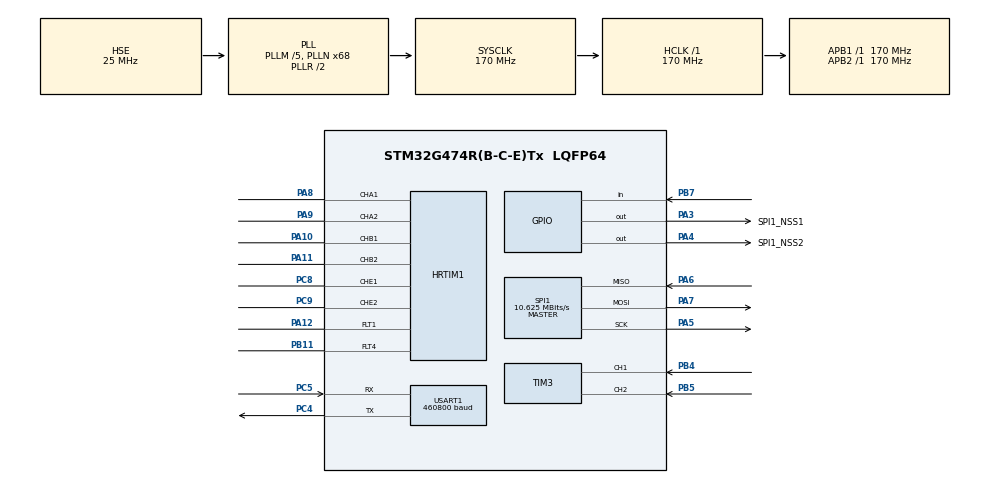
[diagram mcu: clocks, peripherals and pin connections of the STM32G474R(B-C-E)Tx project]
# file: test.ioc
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Dma.Request0=SPI1_RX
Dma.Request1=SPI1_TX
Dma.Request2=USART1_RX
Dma.Request3=USART1_TX
Dma.SPI1_RX.0.Direction=DMA_PERIPH_TO_MEMORY
Dma.SPI1_RX.0.EventEnable=DISABLE
Dma.SPI1_RX.0.Instance=DMA1_Channel1
Dma.SPI1_RX.0.MemDataAlignment=DMA_MDATAALIGN_BYTE
Dma.SPI1_RX.0.MemInc=DMA_MINC_ENABLE
Dma.SPI1_RX.0.Mode=DMA_NORMAL
Dma.SPI1_RX.0.PeriphDataAlignment=DMA_PDATAALIGN_BYTE
Dma.SPI1_RX.0.PeriphInc=DMA_PINC_DISABLE
Dma.SPI1_RX.0.Polarity=HAL_DMAMUX_REQ_GEN_RISING
Dma.SPI1_RX.0.Priority=DMA_PRIORITY_MEDIUM
Dma.SPI1_RX.0.RequestNumber=1
Dma.SPI1_RX.0.SignalID=NONE
Dma.SPI1_RX.0.SyncEnable=DISABLE
Dma.SPI1_RX.0.SyncPolarity=HAL_DMAMUX_SYNC_NO_EVENT
Dma.SPI1_RX.0.SyncRequestNumber=1
Dma.SPI1_RX.0.SyncSignalID=NONE
Dma.SPI1_TX.1.Direction=DMA_MEMORY_TO_PERIPH
Dma.SPI1_TX.1.EventEnable=DISABLE
Dma.SPI1_TX.1.Instance=DMA1_Channel2
Dma.SPI1_TX.1.MemDataAlignment=DMA_MDATAALIGN_BYTE
Dma.SPI1_TX.1.MemInc=DMA_MINC_ENABLE
Dma.SPI1_TX.1.Mode=DMA_NORMAL
Dma.SPI1_TX.1.PeriphDataAlignment=DMA_PDATAALIGN_BYTE
Dma.SPI1_TX.1.PeriphInc=DMA_PINC_DISABLE
Dma.SPI1_TX.1.Polarity=HAL_DMAMUX_REQ_GEN_RISING
Dma.SPI1_TX.1.Priority=DMA_PRIORITY_MEDIUM
Dma.SPI1_TX.1.RequestNumber=1
Dma.SPI1_TX.1.SignalID=NONE
Dma.SPI1_TX.1.SyncEnable=DISABLE
Dma.SPI1_TX.1.SyncPolarity=HAL_DMAMUX_SYNC_NO_EVENT
Dma.SPI1_TX.1.SyncRequestNumber=1
Dma.SPI1_TX.1.SyncSignalID=NONE
Dma.USART1_RX.2.Direction=DMA_PERIPH_TO_MEMORY
Dma.USART1_RX.2.EventEnable=DISABLE
Dma.USART1_RX.2.Instance=DMA1_Channel4
Dma.USART1_RX.2.MemDataAlignment=DMA_MDATAALIGN_BYTE
Dma.USART1_RX.2.MemInc=DMA_MINC_ENABLE
Dma.USART1_RX.2.Mode=DMA_NORMAL
Dma.USART1_RX.2.PeriphDataAlignment=DMA_PDATAALIGN_BYTE
Dma.USART1_RX.2.PeriphInc=DMA_PINC_DISABLE
Dma.USART1_RX.2.Polarity=HAL_DMAMUX_REQ_GEN_RISING
Dma.USART1_RX.2.Priority=DMA_PRIORITY_LOW
Dma.USART1_RX.2.RequestNumber=1
Dma.USART1_RX.2.SignalID=NONE
Dma.USART1_RX.2.SyncEnable=DISABLE
Dma.USART1_RX.2.SyncPolarity=HAL_DMAMUX_SYNC_NO_EVENT
Dma.USART1_RX.2.SyncRequestNumber=1
Dma.USART1_RX.2.SyncSignalID=NONE
Dma.USART1_TX.3.Direction=DMA_MEMORY_TO_PERIPH
Dma.USART1_TX.3.EventEnable=DISABLE
Dma.USART1_TX.3.Instance=DMA1_Channel5
Dma.USART1_TX.3.MemDataAlignment=DMA_MDATAALIGN_BYTE
Dma.USART1_TX.3.MemInc=DMA_MINC_ENABLE
Dma.USART1_TX.3.Mode=DMA_NORMAL
Dma.USART1_TX.3.PeriphDataAlignment=DMA_PDATAALIGN_BYTE
Dma.USART1_TX.3.PeriphInc=DMA_PINC_DISABLE
Dma.USART1_TX.3.Polarity=HAL_DMAMUX_REQ_GEN_RISING
Dma.USART1_TX.3.Priority=DMA_PRIORITY_LOW
Dma.USART1_TX.3.RequestNumber=1
Dma.USART1_TX.3.SignalID=NONE
Dma.USART1_TX.3.SyncEnable=DISABLE
Dma.USART1_TX.3.SyncPolarity=HAL_DMAMUX_SYNC_NO_EVENT
Dma.USART1_TX.3.SyncRequestNumber=1
Dma.USART1_TX.3.SyncSignalID=NONE
HRTIM1.CompareUnit1-Output_TA1TA2=HRTIM_COMPAREUNIT_1
HRTIM1.CompareUnit1-Output_TB1TB2=HRTIM_COMPAREUNIT_1
HRTIM1.CompareUnit1-Output_TE1TE2=HRTIM_COMPAREUNIT_1
HRTIM1.DeadTimeInsertion-Output_TA1TA2=HRTIM_TIMDEADTIMEINSERTION_ENABLED
HRTIM1.DeadTimeInsertion-Output_TB1TB2=HRTIM_TIMDEADTIMEINSERTION_ENABLED
HRTIM1.DeadTimeInsertion-Output_TE1TE2=HRTIM_TIMDEADTIMEINSERTION_ENABLED
HRTIM1.Deadtimeconfig-Output_TB1TB2=HRTIM_TIMERINDEX_TIMER_B
HRTIM1.FallingValue-Output_TA1TA2=272
HRTIM1.FallingValue-Output_TB1TB2=272
HRTIM1.FallingValue-Output_TE1TE2=272
HRTIM1.NumberResetSource1-Output_TA1TA2=1
HRTIM1.NumberResetSource1-Output_TB1TB2=1
HRTIM1.NumberResetSource1-Output_TE1TE2=1
HRTIM1.NumberSetSource1-Output_TA1TA2=1
HRTIM1.NumberSetSource1-Output_TB1TB2=1
HRTIM1.NumberSetSource1-Output_TE1TE2=1
HRTIM1.Periode_TA=34000
HRTIM1.Periode_TB=34000
HRTIM1.Periode_TE=34000
HRTIM1.PreloadEnable-Output_TA1TA2=HRTIM_PRELOAD_ENABLED
HRTIM1.PreloadEnable-Output_TB1TB2=HRTIM_PRELOAD_ENABLED
HRTIM1.PreloadEnable-Output_TE1TE2=HRTIM_PRELOAD_ENABLED
HRTIM1.PrescalerRatio_TA=HRTIM_PRESCALERRATIO_MUL4
HRTIM1.PrescalerRatio_TB=HRTIM_PRESCALERRATIO_MUL4
HRTIM1.PrescalerRatio_TE=HRTIM_PRESCALERRATIO_MUL4
HRTIM1.RepetitionUpdate-Output_TA1TA2=HRTIM_UPDATEONREPETITION_ENABLED
HRTIM1.RepetitionUpdate-Output_TB1TB2=HRTIM_UPDATEONREPETITION_ENABLED
HRTIM1.RepetitionUpdate-Output_TE1TE2=HRTIM_UPDATEONREPETITION_ENABLED
HRTIM1.ResetOutput1_Source1-Output_TA1TA2=HRTIM_OUTPUTRESET_TIMCMP1
HRTIM1.ResetOutput1_Source1-Output_TB1TB2=HRTIM_OUTPUTRESET_TIMCMP1
HRTIM1.ResetOutput1_Source1-Output_TE1TE2=HRTIM_OUTPUTRESET_TIMCMP1
HRTIM1.RisingValue-Output_TA1TA2=272
HRTIM1.RisingValue-Output_TB1TB2=272
HRTIM1.RisingValue-Output_TE1TE2=272
HRTIM1.SetOutput1_Source1-Output_TA1TA2=HRTIM_OUTPUTSET_TIMPER
HRTIM1.SetOutput1_Source1-Output_TB1TB2=HRTIM_OUTPUTSET_TIMPER
HRTIM1.SetOutput1_Source1-Output_TE1TE2=HRTIM_OUTPUTSET_TIMPER
Mcu.Family=STM32G4
Mcu.Name=STM32G474R(B-C-E)Tx
Mcu.Package=LQFP64
NVIC.DMA1_Channel1_IRQn=true\:0\:0\:false\:false\:true\:false\:true\:true
NVIC.DMA1_Channel2_IRQn=true\:0\:0\:false\:false\:true\:false\:true\:true
NVIC.DMA1_Channel4_IRQn=true\:9\:0\:true\:false\:true\:false\:true\:true
NVIC.DMA1_Channel5_IRQn=true\:9\:0\:true\:false\:true\:false\:true\:true
NVIC.HRTIM1_TIMA_IRQn=true\:0\:0\:false\:false\:true\:true\:true\:true
NVIC.PriorityGroup=NVIC_PRIORITYGROUP_4
NVIC.TIM1_TRG_COM_TIM17_IRQn=true\:1\:0\:true\:false\:true\:true\:true\:true
NVIC.TIM3_IRQn=true\:5\:0\:true\:false\:true\:true\:true\:true
NVIC.TIM8_UP_IRQn=true\:10\:0\:true\:false\:true\:true\:true\:true
NVIC.USART1_IRQn=true\:6\:0\:true\:false\:true\:true\:true\:true
PA10.Mode=Output_TB1TB2
PA10.Signal=HRTIM1_CHB1
PA11.Mode=Output_TB1TB2
PA11.Signal=HRTIM1_CHB2
PA12.Mode=Fault_Enable1
PA12.Signal=HRTIM1_FLT1
PA3.GPIO_Label=SPI1_NSS1
PA3.GPIO_PuPd=GPIO_PULLUP
PA3.Signal=GPIO_Output
PA4.GPIO_Label=SPI1_NSS2
PA4.GPIO_PuPd=GPIO_PULLUP
PA4.Signal=GPIO_Output
PA5.Mode=Full_Duplex_Master
PA5.Signal=SPI1_SCK
PA6.Mode=Full_Duplex_Master
PA6.Signal=SPI1_MISO
PA7.Mode=Full_Duplex_Master
PA7.Signal=SPI1_MOSI
PA8.Mode=Output_TA1TA2
PA8.Signal=HRTIM1_CHA1
PA9.Mode=Output_TA1TA2
PA9.Signal=HRTIM1_CHA2
PB11.Mode=Fault_Enable4
PB11.Signal=HRTIM1_FLT4
PB4.Signal=S_TIM3_CH1
PB5.Signal=S_TIM3_CH2
PB7.GPIO_PuPd=GPIO_PULLUP
PB7.Signal=GPIO_Input
PC4.Mode=Asynchronous
PC4.Signal=USART1_TX
PC5.Mode=Asynchronous
PC5.Signal=USART1_RX
PC8.Mode=Output_TE1TE2
PC8.Signal=HRTIM1_CHE1
PC9.Mode=Output_TE1TE2
PC9.Signal=HRTIM1_CHE2
PF0-OSC_IN.Mode=HSE-External-Oscillator
PF0-OSC_IN.Signal=RCC_OSC_IN
PF1-OSC_OUT.Mode=HSE-External-Oscillator
PF1-OSC_OUT.Signal=RCC_OSC_OUT
ProjectManager.HeapSize=0x200
ProjectManager.StackSize=0x400
ProjectManager.TargetToolchain=MDK-ARM V5.32
RCC.ADC12Freq_Value=170000000
RCC.ADC345Freq_Value=170000000
RCC.AHBFreq_Value=170000000
RCC.APB1Freq_Value=170000000
RCC.APB1TimFreq_Value=170000000
RCC.APB2Freq_Value=170000000
RCC.APB2TimFreq_Value=170000000
RCC.CortexFreq_Value=170000000
RCC.EXTERNAL_CLOCK_VALUE=12288000
RCC.HCLKFreq_Value=170000000
RCC.HSE_VALUE=25000000
RCC.HSI48_VALUE=48000000
RCC.HSI_VALUE=16000000
RCC.LSE_VALUE=32768
RCC.PLLM=RCC_PLLM_DIV5
RCC.PLLN=68
RCC.PLLSourceVirtual=RCC_PLLSOURCE_HSE
RCC.SYSCLKFreq_VALUE=170000000
RCC.SYSCLKSource=RCC_SYSCLKSOURCE_PLLCLK
RCC.USART1CLockSelection=RCC_USART1CLKSOURCE_HSI
RCC.USBFreq_Value=170000000
RCC.VCOOutputFreq_Value=340000000
SH.S_TIM3_CH1.0=TIM3_CH1,Encoder_Interface
SH.S_TIM3_CH2.0=TIM3_CH2,Encoder_Interface
SPI1.BaudRatePrescaler=SPI_BAUDRATEPRESCALER_16
SPI1.CLKPhase=SPI_PHASE_2EDGE
SPI1.CLKPolarity=SPI_POLARITY_HIGH
SPI1.CalculateBaudRate=10.625 MBits/s
SPI1.DataSize=SPI_DATASIZE_8BIT
SPI1.Direction=SPI_DIRECTION_2LINES
SPI1.Mode=SPI_MODE_MASTER
SPI1.VirtualType=VM_MASTER
TIM17.AutoReloadPreload=TIM_AUTORELOAD_PRELOAD_DISABLE
TIM17.PeriodNoDither=999
TIM17.Prescaler=169
TIM8.PeriodNoDither=999
TIM8.Prescaler=15
USART1.BaudRate=460800
USART1.VirtualMode-Asynchronous=VM_ASYNC
USART1.WordLength=WORDLENGTH_8B
VP_CORDIC_VS_CORDIC.Mode=CORDIC_Activate
VP_HRTIM1_VS_hrtimMasterTimerNoOutput.Mode=MasterTimer
VP_SYS_VS_DBSignals.Mode=DisableDeadBatterySignals
VP_TIM17_VS_ClockSourceINT.Mode=Enable_Timer
VP_TIM8_VS_ClockSourceINT.Mode=Internal
board=custom

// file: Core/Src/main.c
/* USER CODE BEGIN Header */
/**
  ******************************************************************************
  * @file           : main.c
  * @brief          : Main program body
  ******************************************************************************
  * @attention
  *
  * Copyright (c) 2026 STMicroelectronics.
  * All rights reserved.
  *
  * This software is licensed under terms that can be found in the LICENSE file
  * in the root directory of this software component.
  * If no LICENSE file comes with this software, it is provided AS-IS.
  *
  ******************************************************************************
  */
/* USER CODE END Header */
#include "main.h"

/* USER CODE BEGIN Includes */
#include <stdio.h>
#include "mt6826.h"
#include "motor.h"
#include "spwm.h"
#include "ui.h"
/* USER CODE END Includes */

CORDIC_HandleTypeDef hcordic;

HRTIM_HandleTypeDef hhrtim1;

SPI_HandleTypeDef hspi1;
DMA_HandleTypeDef hdma_spi1_rx;
DMA_HandleTypeDef hdma_spi1_tx;

TIM_HandleTypeDef htim3;
TIM_HandleTypeDef htim8;
TIM_HandleTypeDef htim17;

UART_HandleTypeDef huart1;
DMA_HandleTypeDef hdma_usart1_rx;
DMA_HandleTypeDef hdma_usart1_tx;

/* USER CODE BEGIN PV */
static uint8_t          uart_buf[64];    /* UART 发送缓冲（保留备用） */
MT6826_HandleTypeDef    hencoder;        /* 磁编码器句柄   */
Motor_HandleTypeDef     hmotor;          /* 电机驱动句柄   */
SPWM_HandleTypeDef      hspwm;           /* SPWM 位置环句柄 */
UI_HandleTypeDef        hui;             /* UI 参数调节句柄 */
/* USER CODE END PV */

void SystemClock_Config(void);
static void MX_GPIO_Init(void);
static void MX_DMA_Init(void);
static void MX_USART1_UART_Init(void);
static void MX_HRTIM1_Init(void);
static void MX_SPI1_Init(void);
static void MX_CORDIC_Init(void);
static void MX_TIM17_Init(void);
static void MX_TIM3_Init(void);
static void MX_TIM8_Init(void);

int main(void)
{

  /* MCU Configuration--------------------------------------------------------*/

  /* Reset of all peripherals, Initializes the Flash interface and the Systick. */
  HAL_Init();

  /* Configure the system clock */
  SystemClock_Config();

  /* Initialize all configured peripherals */
  MX_GPIO_Init();
  MX_DMA_Init();
  MX_USART1_UART_Init();
  MX_HRTIM1_Init();
  MX_SPI1_Init();
  MX_CORDIC_Init();
  MX_TIM17_Init();
  MX_TIM3_Init();
  MX_TIM8_Init();
  /* USER CODE BEGIN 2 */
  /* NSS2 空闲拉高 */
  HAL_GPIO_WritePin(SPI1_NSS2_GPIO_Port, SPI1_NSS2_Pin, GPIO_PIN_SET);

  /* 初始化 MT6826S 编码器模块 */
  MT6826_Init(&hencoder, &hspi1, SPI1_NSS1_GPIO_Port, SPI1_NSS1_Pin);
  HAL_Delay(10u);

  /* 初始化电机底层 HRTIM+CORDIC */
  Motor_Init(&hmotor, &hhrtim1, &hcordic, &hencoder);

  /* 初始化 SPWM 位置环（先初始化再进行对齐） */
  SPWM_Init(&hspwm, &hmotor, &htim17);
  SPWM_SetPID(&hspwm, 0.02f, 0.0005f, 0.0f);

	/* d轴对齐: 施加直轴电流使电机转至电角度0°, 标定编码器偏移 */
  SPWM_AlignToZero(&hspwm);

//	/*电机匀速旋转测试*/
//	Motor_SetModulation(&hmotor,0.5f);
//	Motor_Start(&hmotor);

  /* 启动闭环位置控制, 目标角度 0° */
  SPWM_SetTarget(&hspwm, 0.0f);
  SPWM_Start(&hspwm);

  /* 初始化 UI: 旋钮(TIM3) + 按钮(PB7) + FireWater 串口流(TIM8) */
  UI_Init(&hui, &hspwm, &huart1, &htim3, &htim8);
  /* USER CODE END 2 */

  /* Infinite loop */
  while (1)
  {

    /* USER CODE BEGIN 3 */
    /* 串口输出和角度数据均由 TIM8 中断驱动 (UI_TIM8Callback)，
     * 主循环只需轮询编码器增量和按键消抖。                        */
    UI_Poll(&hui);
  }
  /* USER CODE END 3 */
}

void SystemClock_Config(void)
{
  RCC_OscInitTypeDef RCC_OscInitStruct = {0};
  RCC_ClkInitTypeDef RCC_ClkInitStruct = {0};

  /** Configure the main internal regulator output voltage
  */
  HAL_PWREx_ControlVoltageScaling(PWR_REGULATOR_VOLTAGE_SCALE1_BOOST);

  /** Initializes the RCC Oscillators according to the specified parameters
  * in the RCC_OscInitTypeDef structure.
  */
  RCC_OscInitStruct.OscillatorType = RCC_OSCILLATORTYPE_HSI|RCC_OSCILLATORTYPE_HSE;
  RCC_OscInitStruct.HSEState = RCC_HSE_ON;
  RCC_OscInitStruct.HSIState = RCC_HSI_ON;
  RCC_OscInitStruct.HSICalibrationValue = RCC_HSICALIBRATION_DEFAULT;
  RCC_OscInitStruct.PLL.PLLState = RCC_PLL_ON;
  RCC_OscInitStruct.PLL.PLLSource = RCC_PLLSOURCE_HSE;
  RCC_OscInitStruct.PLL.PLLM = RCC_PLLM_DIV5;
  RCC_OscInitStruct.PLL.PLLN = 68;
  RCC_OscInitStruct.PLL.PLLP = RCC_PLLP_DIV2;
  RCC_OscInitStruct.PLL.PLLQ = RCC_PLLQ_DIV2;
  RCC_OscInitStruct.PLL.PLLR = RCC_PLLR_DIV2;
  if (HAL_RCC_OscConfig(&RCC_OscInitStruct) != HAL_OK)
  {
    Error_Handler();
  }

  /** Initializes the CPU, AHB and APB buses clocks
  */
  RCC_ClkInitStruct.ClockType = RCC_CLOCKTYPE_HCLK|RCC_CLOCKTYPE_SYSCLK
                              |RCC_CLOCKTYPE_PCLK1|RCC_CLOCKTYPE_PCLK2;
  RCC_ClkInitStruct.SYSCLKSource = RCC_SYSCLKSOURCE_PLLCLK;
  RCC_ClkInitStruct.AHBCLKDivider = RCC_SYSCLK_DIV1;
  RCC_ClkInitStruct.APB1CLKDivider = RCC_HCLK_DIV1;
  RCC_ClkInitStruct.APB2CLKDivider = RCC_HCLK_DIV1;

  if (HAL_RCC_ClockConfig(&RCC_ClkInitStruct, FLASH_LATENCY_4) != HAL_OK)
  {
    Error_Handler();
  }
}

static void MX_CORDIC_Init(void)
{

  hcordic.Instance = CORDIC;
  if (HAL_CORDIC_Init(&hcordic) != HAL_OK)
  {
    Error_Handler();
  }

}

static void MX_HRTIM1_Init(void)
{

  HRTIM_FaultCfgTypeDef pFaultCfg = {0};
  HRTIM_FaultBlankingCfgTypeDef pFaultBlkCfg = {0};
  HRTIM_TimeBaseCfgTypeDef pTimeBaseCfg = {0};
  HRTIM_TimerCfgTypeDef pTimerCfg = {0};
  HRTIM_TimerCtlTypeDef pTimerCtl = {0};
  HRTIM_CompareCfgTypeDef pCompareCfg = {0};
  HRTIM_DeadTimeCfgTypeDef pDeadTimeCfg = {0};
  HRTIM_OutputCfgTypeDef pOutputCfg = {0};

  hhrtim1.Instance = HRTIM1;
  hhrtim1.Init.HRTIMInterruptResquests = HRTIM_IT_NONE;
  hhrtim1.Init.SyncOptions = HRTIM_SYNCOPTION_NONE;
  if (HAL_HRTIM_Init(&hhrtim1) != HAL_OK)
  {
    Error_Handler();
  }
  if (HAL_HRTIM_DLLCalibrationStart(&hhrtim1, HRTIM_CALIBRATIONRATE_3) != HAL_OK)
  {
    Error_Handler();
  }
  if (HAL_HRTIM_PollForDLLCalibration(&hhrtim1, 10) != HAL_OK)
  {
    Error_Handler();
  }
  if (HAL_HRTIM_FaultPrescalerConfig(&hhrtim1, HRTIM_FAULTPRESCALER_DIV1) != HAL_OK)
  {
    Error_Handler();
  }
  pFaultCfg.Source = HRTIM_FAULTSOURCE_DIGITALINPUT;
  pFaultCfg.Polarity = HRTIM_FAULTPOLARITY_HIGH;
  pFaultCfg.Filter = HRTIM_FAULTFILTER_NONE;
  pFaultCfg.Lock = HRTIM_FAULTLOCK_READWRITE;
  if (HAL_HRTIM_FaultConfig(&hhrtim1, HRTIM_FAULT_1, &pFaultCfg) != HAL_OK)
  {
    Error_Handler();
  }
  pFaultBlkCfg.Threshold = 0;
  pFaultBlkCfg.ResetMode = HRTIM_FAULTCOUNTERRST_UNCONDITIONAL;
  pFaultBlkCfg.BlankingSource = HRTIM_FAULTBLANKINGMODE_RSTALIGNED;
  if (HAL_HRTIM_FaultCounterConfig(&hhrtim1, HRTIM_FAULT_1, &pFaultBlkCfg) != HAL_OK)
  {
    Error_Handler();
  }
  if (HAL_HRTIM_FaultBlankingConfigAndEnable(&hhrtim1, HRTIM_FAULT_1, &pFaultBlkCfg) != HAL_OK)
  {
    Error_Handler();
  }
  HAL_HRTIM_FaultModeCtl(&hhrtim1, HRTIM_FAULT_1, HRTIM_FAULTMODECTL_ENABLED);
  if (HAL_HRTIM_FaultCounterConfig(&hhrtim1, HRTIM_FAULT_4, &pFaultBlkCfg) != HAL_OK)
  {
    Error_Handler();
  }
  if (HAL_HRTIM_FaultBlankingConfigAndEnable(&hhrtim1, HRTIM_FAULT_4, &pFaultBlkCfg) != HAL_OK)
  {
    Error_Handler();
  }
  if (HAL_HRTIM_FaultConfig(&hhrtim1, HRTIM_FAULT_4, &pFaultCfg) != HAL_OK)
  {
    Error_Handler();
  }
  HAL_HRTIM_FaultModeCtl(&hhrtim1, HRTIM_FAULT_4, HRTIM_FAULTMODECTL_ENABLED);
  pTimeBaseCfg.Period = 0xFFDF;
  pTimeBaseCfg.RepetitionCounter = 0x00;
  pTimeBaseCfg.PrescalerRatio = HRTIM_PRESCALERRATIO_MUL32;
  pTimeBaseCfg.Mode = HRTIM_MODE_CONTINUOUS;
  if (HAL_HRTIM_TimeBaseConfig(&hhrtim1, HRTIM_TIMERINDEX_MASTER, &pTimeBaseCfg) != HAL_OK)
  {
    Error_Handler();
  }
  pTimerCfg.InterruptRequests = HRTIM_MASTER_IT_NONE;
  pTimerCfg.DMARequests = HRTIM_MASTER_DMA_NONE;
  pTimerCfg.DMASrcAddress = 0x0000;
  pTimerCfg.DMADstAddress = 0x0000;
  pTimerCfg.DMASize = 0x1;
  pTimerCfg.HalfModeEnable = HRTIM_HALFMODE_DISABLED;
  pTimerCfg.InterleavedMode = HRTIM_INTERLEAVED_MODE_DISABLED;
  pTimerCfg.StartOnSync = HRTIM_SYNCSTART_DISABLED;
  pTimerCfg.ResetOnSync = HRTIM_SYNCRESET_DISABLED;
  pTimerCfg.DACSynchro = HRTIM_DACSYNC_NONE;
  pTimerCfg.PreloadEnable = HRTIM_PRELOAD_DISABLED;
  pTimerCfg.UpdateGating = HRTIM_UPDATEGATING_INDEPENDENT;
  pTimerCfg.BurstMode = HRTIM_TIMERBURSTMODE_MAINTAINCLOCK;
  pTimerCfg.RepetitionUpdate = HRTIM_UPDATEONREPETITION_DISABLED;
  pTimerCfg.ReSyncUpdate = HRTIM_TIMERESYNC_UPDATE_UNCONDITIONAL;
  if (HAL_HRTIM_WaveformTimerConfig(&hhrtim1, HRTIM_TIMERINDEX_MASTER, &pTimerCfg) != HAL_OK)
  {
    Error_Handler();
  }
  pTimeBaseCfg.Period = 34000;
  pTimeBaseCfg.PrescalerRatio = HRTIM_PRESCALERRATIO_MUL4;
  if (HAL_HRTIM_TimeBaseConfig(&hhrtim1, HRTIM_TIMERINDEX_TIMER_A, &pTimeBaseCfg) != HAL_OK)
  {
    Error_Handler();
  }
  pTimerCtl.UpDownMode = HRTIM_TIMERUPDOWNMODE_UP;
  pTimerCtl.GreaterCMP1 = HRTIM_TIMERGTCMP1_EQUAL;
  pTimerCtl.DualChannelDacEnable = HRTIM_TIMER_DCDE_DISABLED;
  if (HAL_HRTIM_WaveformTimerControl(&hhrtim1, HRTIM_TIMERINDEX_TIMER_A, &pTimerCtl) != HAL_OK)
  {
    Error_Handler();
  }
  pTimerCfg.InterruptRequests = HRTIM_TIM_IT_NONE;
  pTimerCfg.DMARequests = HRTIM_TIM_DMA_NONE;
  pTimerCfg.PreloadEnable = HRTIM_PRELOAD_ENABLED;
  pTimerCfg.RepetitionUpdate = HRTIM_UPDATEONREPETITION_ENABLED;
  pTimerCfg.PushPull = HRTIM_TIMPUSHPULLMODE_DISABLED;
  pTimerCfg.FaultEnable = HRTIM_TIMFAULTENABLE_NONE;
  pTimerCfg.FaultLock = HRTIM_TIMFAULTLOCK_READWRITE;
  pTimerCfg.DeadTimeInsertion = HRTIM_TIMDEADTIMEINSERTION_ENABLED;
  pTimerCfg.DelayedProtectionMode = HRTIM_TIMER_A_B_C_DELAYEDPROTECTION_DISABLED;
  pTimerCfg.UpdateTrigger = HRTIM_TIMUPDATETRIGGER_NONE;
  pTimerCfg.ResetTrigger = HRTIM_TIMRESETTRIGGER_NONE;
  pTimerCfg.ResetUpdate = HRTIM_TIMUPDATEONRESET_DISABLED;
  if (HAL_HRTIM_WaveformTimerConfig(&hhrtim1, HRTIM_TIMERINDEX_TIMER_A, &pTimerCfg) != HAL_OK)
  {
    Error_Handler();
  }
  if (HAL_HRTIM_WaveformTimerConfig(&hhrtim1, HRTIM_TIMERINDEX_TIMER_B, &pTimerCfg) != HAL_OK)
  {
    Error_Handler();
  }
  pTimerCfg.DelayedProtectionMode = HRTIM_TIMER_D_E_DELAYEDPROTECTION_DISABLED;
  if (HAL_HRTIM_WaveformTimerConfig(&hhrtim1, HRTIM_TIMERINDEX_TIMER_E, &pTimerCfg) != HAL_OK)
  {
    Error_Handler();
  }
  pCompareCfg.CompareValue = 0xFFFB;
  if (HAL_HRTIM_WaveformCompareConfig(&hhrtim1, HRTIM_TIMERINDEX_TIMER_A, HRTIM_COMPAREUNIT_1, &pCompareCfg) != HAL_OK)
  {
    Error_Handler();
  }
  pDeadTimeCfg.Prescaler = HRTIM_TIMDEADTIME_PRESCALERRATIO_MUL8;
  pDeadTimeCfg.RisingValue = 272;
  pDeadTimeCfg.RisingSign = HRTIM_TIMDEADTIME_RISINGSIGN_POSITIVE;
  pDeadTimeCfg.RisingLock = HRTIM_TIMDEADTIME_RISINGLOCK_WRITE;
  pDeadTimeCfg.RisingSignLock = HRTIM_TIMDEADTIME_RISINGSIGNLOCK_WRITE;
  pDeadTimeCfg.FallingValue = 272;
  pDeadTimeCfg.FallingSign = HRTIM_TIMDEADTIME_FALLINGSIGN_POSITIVE;
  pDeadTimeCfg.FallingLock = HRTIM_TIMDEADTIME_FALLINGLOCK_WRITE;
  pDeadTimeCfg.FallingSignLock = HRTIM_TIMDEADTIME_FALLINGSIGNLOCK_WRITE;
  if (HAL_HRTIM_DeadTimeConfig(&hhrtim1, HRTIM_TIMERINDEX_TIMER_A, &pDeadTimeCfg) != HAL_OK)
  {
    Error_Handler();
  }
  if (HAL_HRTIM_DeadTimeConfig(&hhrtim1, HRTIM_TIMERINDEX_TIMER_B, &pDeadTimeCfg) != HAL_OK)
  {
    Error_Handler();
  }
  if (HAL_HRTIM_DeadTimeConfig(&hhrtim1, HRTIM_TIMERINDEX_TIMER_E, &pDeadTimeCfg) != HAL_OK)
  {
    Error_Handler();
  }
  pOutputCfg.Polarity = HRTIM_OUTPUTPOLARITY_HIGH;
  pOutputCfg.SetSource = HRTIM_OUTPUTSET_TIMPER;
  pOutputCfg.ResetSource = HRTIM_OUTPUTRESET_TIMCMP1;
  pOutputCfg.IdleMode = HRTIM_OUTPUTIDLEMODE_NONE;
  pOutputCfg.IdleLevel = HRTIM_OUTPUTIDLELEVEL_INACTIVE;
  pOutputCfg.FaultLevel = HRTIM_OUTPUTFAULTLEVEL_NONE;
  pOutputCfg.ChopperModeEnable = HRTIM_OUTPUTCHOPPERMODE_DISABLED;
  pOutputCfg.BurstModeEntryDelayed = HRTIM_OUTPUTBURSTMODEENTRY_REGULAR;
  if (HAL_HRTIM_WaveformOutputConfig(&hhrtim1, HRTIM_TIMERINDEX_TIMER_A, HRTIM_OUTPUT_TA1, &pOutputCfg) != HAL_OK)
  {
    Error_Handler();
  }
  if (HAL_HRTIM_WaveformOutputConfig(&hhrtim1, HRTIM_TIMERINDEX_TIMER_B, HRTIM_OUTPUT_TB1, &pOutputCfg) != HAL_OK)
  {
    Error_Handler();
  }
  if (HAL_HRTIM_WaveformOutputConfig(&hhrtim1, HRTIM_TIMERINDEX_TIMER_E, HRTIM_OUTPUT_TE1, &pOutputCfg) != HAL_OK)
  {
    Error_Handler();
  }
  pOutputCfg.SetSource = HRTIM_OUTPUTSET_NONE;
  pOutputCfg.ResetSource = HRTIM_OUTPUTRESET_NONE;
  if (HAL_HRTIM_WaveformOutputConfig(&hhrtim1, HRTIM_TIMERINDEX_TIMER_A, HRTIM_OUTPUT_TA2, &pOutputCfg) != HAL_OK)
  {
    Error_Handler();
  }
  if (HAL_HRTIM_WaveformOutputConfig(&hhrtim1, HRTIM_TIMERINDEX_TIMER_B, HRTIM_OUTPUT_TB2, &pOutputCfg) != HAL_OK)
  {
    Error_Handler();
  }
  if (HAL_HRTIM_WaveformOutputConfig(&hhrtim1, HRTIM_TIMERINDEX_TIMER_E, HRTIM_OUTPUT_TE2, &pOutputCfg) != HAL_OK)
  {
    Error_Handler();
  }
  if (HAL_HRTIM_TimeBaseConfig(&hhrtim1, HRTIM_TIMERINDEX_TIMER_B, &pTimeBaseCfg) != HAL_OK)
  {
    Error_Handler();
  }
  if (HAL_HRTIM_WaveformTimerControl(&hhrtim1, HRTIM_TIMERINDEX_TIMER_B, &pTimerCtl) != HAL_OK)
  {
    Error_Handler();
  }
  if (HAL_HRTIM_WaveformCompareConfig(&hhrtim1, HRTIM_TIMERINDEX_TIMER_B, HRTIM_COMPAREUNIT_1, &pCompareCfg) != HAL_OK)
  {
    Error_Handler();
  }
  if (HAL_HRTIM_TimeBaseConfig(&hhrtim1, HRTIM_TIMERINDEX_TIMER_E, &pTimeBaseCfg) != HAL_OK)
  {
    Error_Handler();
  }
  if (HAL_HRTIM_WaveformTimerControl(&hhrtim1, HRTIM_TIMERINDEX_TIMER_E, &pTimerCtl) != HAL_OK)
  {
    Error_Handler();
  }
  pCompareCfg.CompareValue = 0xFFDF;
  if (HAL_HRTIM_WaveformCompareConfig(&hhrtim1, HRTIM_TIMERINDEX_TIMER_E, HRTIM_COMPAREUNIT_1, &pCompareCfg) != HAL_OK)
  {
    Error_Handler();
  }
  HAL_HRTIM_MspPostInit(&hhrtim1);

}

static void MX_SPI1_Init(void)
{

  /* SPI1 parameter configuration*/
  hspi1.Instance = SPI1;
  hspi1.Init.Mode = SPI_MODE_MASTER;
  hspi1.Init.Direction = SPI_DIRECTION_2LINES;
  hspi1.Init.DataSize = SPI_DATASIZE_8BIT;
  hspi1.Init.CLKPolarity = SPI_POLARITY_HIGH;
  hspi1.Init.CLKPhase = SPI_PHASE_2EDGE;
  hspi1.Init.NSS = SPI_NSS_SOFT;
  hspi1.Init.BaudRatePrescaler = SPI_BAUDRATEPRESCALER_16;
  hspi1.Init.FirstBit = SPI_FIRSTBIT_MSB;
  hspi1.Init.TIMode = SPI_TIMODE_DISABLE;
  hspi1.Init.CRCCalculation = SPI_CRCCALCULATION_DISABLE;
  hspi1.Init.CRCPolynomial = 7;
  hspi1.Init.CRCLength = SPI_CRC_LENGTH_DATASIZE;
  hspi1.Init.NSSPMode = SPI_NSS_PULSE_DISABLE;
  if (HAL_SPI_Init(&hspi1) != HAL_OK)
  {
    Error_Handler();
  }

}

static void MX_TIM3_Init(void)
{

  TIM_Encoder_InitTypeDef sConfig = {0};
  TIM_MasterConfigTypeDef sMasterConfig = {0};

  htim3.Instance = TIM3;
  htim3.Init.Prescaler = 0;
  htim3.Init.CounterMode = TIM_COUNTERMODE_UP;
  htim3.Init.Period = 65535;
  htim3.Init.ClockDivision = TIM_CLOCKDIVISION_DIV1;
  htim3.Init.AutoReloadPreload = TIM_AUTORELOAD_PRELOAD_DISABLE;
  sConfig.EncoderMode = TIM_ENCODERMODE_TI1;
  sConfig.IC1Polarity = TIM_ICPOLARITY_RISING;
  sConfig.IC1Selection = TIM_ICSELECTION_DIRECTTI;
  sConfig.IC1Prescaler = TIM_ICPSC_DIV1;
  sConfig.IC1Filter = 0;
  sConfig.IC2Polarity = TIM_ICPOLARITY_RISING;
  sConfig.IC2Selection = TIM_ICSELECTION_DIRECTTI;
  sConfig.IC2Prescaler = TIM_ICPSC_DIV1;
  sConfig.IC2Filter = 0;
  if (HAL_TIM_Encoder_Init(&htim3, &sConfig) != HAL_OK)
  {
    Error_Handler();
  }
  sMasterConfig.MasterOutputTrigger = TIM_TRGO_RESET;
  sMasterConfig.MasterSlaveMode = TIM_MASTERSLAVEMODE_DISABLE;
  if (HAL_TIMEx_MasterConfigSynchronization(&htim3, &sMasterConfig) != HAL_OK)
  {
    Error_Handler();
  }

}

static void MX_TIM8_Init(void)
{

  TIM_ClockConfigTypeDef sClockSourceConfig = {0};
  TIM_MasterConfigTypeDef sMasterConfig = {0};

  htim8.Instance = TIM8;
  htim8.Init.Prescaler = 15;
  htim8.Init.CounterMode = TIM_COUNTERMODE_UP;
  htim8.Init.Period = 999;
  htim8.Init.ClockDivision = TIM_CLOCKDIVISION_DIV1;
  htim8.Init.RepetitionCounter = 0;
  htim8.Init.AutoReloadPreload = TIM_AUTORELOAD_PRELOAD_DISABLE;
  if (HAL_TIM_Base_Init(&htim8) != HAL_OK)
  {
    Error_Handler();
  }
  sClockSourceConfig.ClockSource = TIM_CLOCKSOURCE_INTERNAL;
  if (HAL_TIM_ConfigClockSource(&htim8, &sClockSourceConfig) != HAL_OK)
  {
    Error_Handler();
  }
  sMasterConfig.MasterOutputTrigger = TIM_TRGO_RESET;
  sMasterConfig.MasterOutputTrigger2 = TIM_TRGO2_RESET;
  sMasterConfig.MasterSlaveMode = TIM_MASTERSLAVEMODE_DISABLE;
  if (HAL_TIMEx_MasterConfigSynchronization(&htim8, &sMasterConfig) != HAL_OK)
  {
    Error_Handler();
  }

}

static void MX_TIM17_Init(void)
{

  htim17.Instance = TIM17;
  htim17.Init.Prescaler = 169;
  htim17.Init.CounterMode = TIM_COUNTERMODE_UP;
  htim17.Init.Period = 999;
  htim17.Init.ClockDivision = TIM_CLOCKDIVISION_DIV1;
  htim17.Init.RepetitionCounter = 0;
  htim17.Init.AutoReloadPreload = TIM_AUTORELOAD_PRELOAD_DISABLE;
  if (HAL_TIM_Base_Init(&htim17) != HAL_OK)
  {
    Error_Handler();
  }

}

static void MX_USART1_UART_Init(void)
{

  huart1.Instance = USART1;
  huart1.Init.BaudRate = 460800;
  huart1.Init.WordLength = UART_WORDLENGTH_8B;
  huart1.Init.StopBits = UART_STOPBITS_1;
  huart1.Init.Parity = UART_PARITY_NONE;
  huart1.Init.Mode = UART_MODE_TX_RX;
  huart1.Init.HwFlowCtl = UART_HWCONTROL_NONE;
  huart1.Init.OverSampling = UART_OVERSAMPLING_16;
  huart1.Init.OneBitSampling = UART_ONE_BIT_SAMPLE_DISABLE;
  huart1.Init.ClockPrescaler = UART_PRESCALER_DIV1;
  huart1.AdvancedInit.AdvFeatureInit = UART_ADVFEATURE_NO_INIT;
  if (HAL_UART_Init(&huart1) != HAL_OK)
  {
    Error_Handler();
  }
  if (HAL_UARTEx_SetTxFifoThreshold(&huart1, UART_TXFIFO_THRESHOLD_1_8) != HAL_OK)
  {
    Error_Handler();
  }
  if (HAL_UARTEx_SetRxFifoThreshold(&huart1, UART_RXFIFO_THRESHOLD_1_8) != HAL_OK)
  {
    Error_Handler();
  }
  if (HAL_UARTEx_DisableFifoMode(&huart1) != HAL_OK)
  {
    Error_Handler();
  }

}

static void MX_DMA_Init(void)
{

  /* DMA controller clock enable */
  __HAL_RCC_DMAMUX1_CLK_ENABLE();
  __HAL_RCC_DMA1_CLK_ENABLE();

  /* DMA interrupt init */
  /* DMA1_Channel1_IRQn interrupt configuration */
  HAL_NVIC_SetPriority(DMA1_Channel1_IRQn, 0, 0);
  HAL_NVIC_EnableIRQ(DMA1_Channel1_IRQn);
  /* DMA1_Channel2_IRQn interrupt configuration */
  HAL_NVIC_SetPriority(DMA1_Channel2_IRQn, 0, 0);
  HAL_NVIC_EnableIRQ(DMA1_Channel2_IRQn);
  /* DMA1_Channel4_IRQn interrupt configuration */
  HAL_NVIC_SetPriority(DMA1_Channel4_IRQn, 9, 0);
  HAL_NVIC_EnableIRQ(DMA1_Channel4_IRQn);
  /* DMA1_Channel5_IRQn interrupt configuration */
  HAL_NVIC_SetPriority(DMA1_Channel5_IRQn, 9, 0);
  HAL_NVIC_EnableIRQ(DMA1_Channel5_IRQn);

}

static void MX_GPIO_Init(void)
{
  GPIO_InitTypeDef GPIO_InitStruct = {0};

  /* GPIO Ports Clock Enable */
  __HAL_RCC_GPIOF_CLK_ENABLE();
  __HAL_RCC_GPIOA_CLK_ENABLE();
  __HAL_RCC_GPIOC_CLK_ENABLE();
  __HAL_RCC_GPIOB_CLK_ENABLE();

  /*Configure GPIO pin Output Level */
  HAL_GPIO_WritePin(GPIOA, SPI1_NSS1_Pin|SPI1_NSS2_Pin, GPIO_PIN_RESET);

  /*Configure GPIO pins : SPI1_NSS1_Pin SPI1_NSS2_Pin */
  GPIO_InitStruct.Pin = SPI1_NSS1_Pin|SPI1_NSS2_Pin;
  GPIO_InitStruct.Mode = GPIO_MODE_OUTPUT_PP;
  GPIO_InitStruct.Pull = GPIO_PULLUP;
  GPIO_InitStruct.Speed = GPIO_SPEED_FREQ_LOW;
  HAL_GPIO_Init(GPIOA, &GPIO_InitStruct);

  /*Configure GPIO pin : PB7 */
  GPIO_InitStruct.Pin = GPIO_PIN_7;
  GPIO_InitStruct.Mode = GPIO_MODE_INPUT;
  GPIO_InitStruct.Pull = GPIO_PULLUP;
  HAL_GPIO_Init(GPIOB, &GPIO_InitStruct);

}

/* USER CODE BEGIN 4 */
/**
 * @brief  SPI DMA 收发完成回调
 *         → 解析编码器 → SPWM 或 Motor 处理
 */
void HAL_SPI_TxRxCpltCallback(SPI_HandleTypeDef *hspi)
{
    if (hspi->Instance == SPI1)
    {
        MT6826_DMACompleteCallback(&hencoder);
        if (hspwm.enabled)
            SPWM_EncoderReadCompleteCallback(&hspwm);
        else
            Motor_EncoderReadCompleteCallback(&hmotor);
    }
}

/**
 * @brief  HRTIM 定时器周期完成回调 → 启动编码器 SPI-DMA 读取
 */
void HAL_HRTIM_RepetitionEventCallback(HRTIM_HandleTypeDef *hhrtim,
                                       uint32_t TimerIdx)
{
    if (TimerIdx == HRTIM_TIMERINDEX_TIMER_A)
    {
        Motor_PeriodElapsedCallback(&hmotor);
    }
}

/**
 * @brief  TIM17 周期中断回调 → PID 位置环计算 (1 kHz)
 *         TIM8  周期中断回调 → UI FireWater 数据流 (~10.6 kHz)
 */
void HAL_TIM_PeriodElapsedCallback(TIM_HandleTypeDef *htim)
{
    if (htim->Instance == TIM17)
    {
        SPWM_PIDCallback(&hspwm);
    }
    else if (htim->Instance == TIM8)
    {
        UI_TIM8Callback(&hui);
    }
}

/**
 * @brief  UART DMA 发送完成回调 → 释放 UI DMA 锁
 */
void HAL_UART_TxCpltCallback(UART_HandleTypeDef *huart)
{
    if (huart->Instance == USART1)
    {
        UI_TxCpltCallback(&hui);
    }
}
/* USER CODE END 4 */

void Error_Handler(void)
{
  __disable_irq();
  while (1)
  {
  }
}
